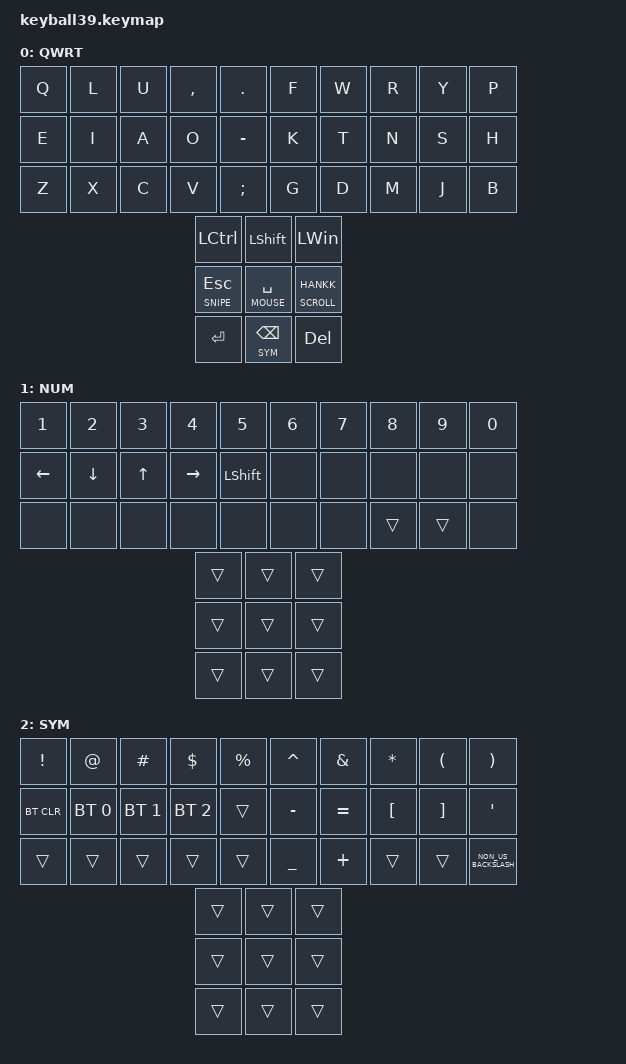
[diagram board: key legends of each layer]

#define DEFAULT 0
#define NUM     1
#define SYM     2
#define FUN     3
#define MOUSE   4
#define SCROLL  5
#define SNIPE   6

#include <behaviors/mouse_keys.dtsi>
#include <dt-bindings/zmk/mouse.h>
#include <behaviors.dtsi>
#include <dt-bindings/zmk/bt.h>
#include <dt-bindings/zmk/keys.h>

&lt {
    tapping-term-ms = <240>;
    flavor = "balanced";
    quick-tap-ms = <150>;
};

&mt {
    tapping-term-ms = <200>;
    flavor = "tap-preferred";
    quick-tap-ms = <150>;
};

&caps_word { continue-list = <UNDERSCORE MINUS>; };

/ {
    behaviors {
        cmqus: comma_question {
            compatible = "zmk,behavior-mod-morph";
            label = "COMMA_QUESTION";
            #binding-cells = <0>;
            bindings = <&kp COMMA>, <&kp QUESTION>;
            mods = <(MOD_LSFT|MOD_RSFT)>;
        };

        dtsmi: dot_semi {
            compatible = "zmk,behavior-mod-morph";
            label = "DOT_SEMI";
            #binding-cells = <0>;
            bindings = <&kp DOT>, <&kp SEMI>;
            mods = <(MOD_LSFT|MOD_RSFT)>;
        };
    };

    macros {
        Hiragana: Hiragana {
            compatible = "zmk,behavior-macro";
            #binding-cells = <0>;
            bindings = <&kp LC(SPACE)>;
            label = "HIRAGANA";
        };
    };

    keymap {
        compatible = "zmk,keymap";

        default_layer {
            label = "QWRT";
            bindings = <
&kp Q &kp L &kp U &kp COMMA &kp DOT &kp F &kp W &kp R &kp Y &kp P
&kp E &kp I &kp A &kp O &kp MINUS &kp K &kp T &kp N &kp S &kp H
&kp Z &kp X &kp C &kp V &kp SEMI &kp G &kp D &kp M &kp J &kp B
&kp LCTRL &kp LSHFT &kp LWIN 
&lt SNIPE ESCAPE &lt MOUSE SPACE &lt SCROLL HANKK 
&kp ENTER &lt SYM BACKSPACE &kp DELETE
            >;
        };

        number_layer {
            label = "NUM";
            bindings = <
&kp NUMBER_1 &kp NUMBER_2 &kp NUMBER_3 &kp NUMBER_4 &kp NUMBER_5 &kp NUMBER_6 &kp NUMBER_7 &kp NUMBER_8 &kp NUMBER_9 &kp NUMBER_0
&kp LEFT_ARROW &kp DOWN_ARROW &kp UP_ARROW &kp RIGHT_ARROW &kp LSHFT &none &none &none &none &none
&none &none &none &none &none &none &none &trans &trans &none
&trans &trans &trans &trans &trans &trans &trans &trans &trans
            >;
        };

        symbol_layer {
            label = "SYM";
            bindings = <
&kp EXCLAMATION &kp AT_SIGN &kp HASH &kp DOLLAR &kp PERCENT &kp CARET &kp AMPERSAND &kp ASTERISK &kp LEFT_PARENTHESIS &kp RIGHT_PARENTHESIS
&bt BT_CLR &bt BT_SEL 0 &bt BT_SEL 1 &bt BT_SEL 2 &trans &kp MINUS &kp EQUAL &kp LEFT_BRACKET &kp RIGHT_BRACKET &kp SQT
&trans &trans &trans &trans &trans &kp UNDERSCORE &kp PLUS &trans &trans &kp NON_US_BACKSLASH
&trans &trans &trans &trans &trans &trans &trans &trans &trans
            >;
        };
    };
};
